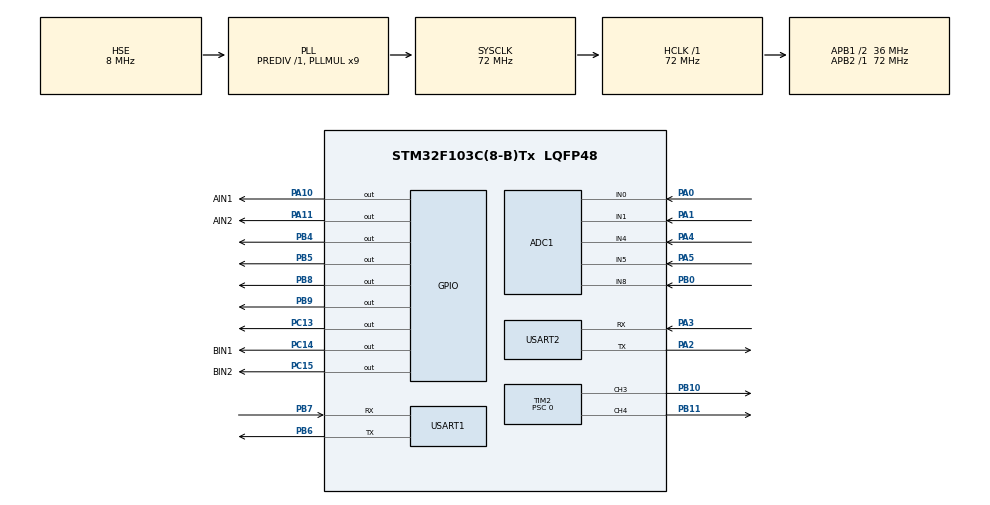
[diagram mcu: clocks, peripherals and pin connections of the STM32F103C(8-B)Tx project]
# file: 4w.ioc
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ADC1.Channel-0\#ChannelRegularConversion=ADC_CHANNEL_0
ADC1.ContinuousConvMode=DISABLE
ADC1.DiscontinuousConvMode=DISABLE
ADC1.EnableInjectedConversion=DISABLE
ADC1.NbrOfConversion=1
ADC1.NbrOfConversionFlag=1
ADC1.Rank-0\#ChannelRegularConversion=1
ADC1.SamplingTime-0\#ChannelRegularConversion=ADC_SAMPLETIME_239CYCLES_5
ADC1.master=1
Mcu.Family=STM32F1
Mcu.Name=STM32F103C(8-B)Tx
Mcu.Package=LQFP48
NVIC.PriorityGroup=NVIC_PRIORITYGROUP_4
NVIC.TIM4_IRQn=true\:0\:0\:false\:false\:true\:true\:true\:true
PA0-WKUP.Signal=ADCx_IN0
PA1.Signal=ADCx_IN1
PA10.GPIO_Label=AIN1
PA10.Signal=GPIO_Output
PA11.GPIO_Label=AIN2
PA11.Signal=GPIO_Output
PA13.Mode=Serial_Wire
PA13.Signal=SYS_JTMS-SWDIO
PA14.Mode=Serial_Wire
PA14.Signal=SYS_JTCK-SWCLK
PA2.Mode=Asynchronous
PA2.Signal=USART2_TX
PA3.Mode=Asynchronous
PA3.Signal=USART2_RX
PA4.Signal=ADCx_IN4
PA5.Signal=ADCx_IN5
PB0.Signal=ADCx_IN8
PB10.Signal=S_TIM2_CH3
PB11.Signal=S_TIM2_CH4
PB4.GPIO_ModeDefaultOutputPP=GPIO_MODE_OUTPUT_OD
PB4.GPIO_PuPd=GPIO_PULLUP
PB4.GPIO_Speed=GPIO_SPEED_FREQ_MEDIUM
PB4.PinState=GPIO_PIN_SET
PB4.Signal=GPIO_Output
PB5.GPIO_ModeDefaultOutputPP=GPIO_MODE_OUTPUT_OD
PB5.GPIO_PuPd=GPIO_PULLUP
PB5.GPIO_Speed=GPIO_SPEED_FREQ_MEDIUM
PB5.PinState=GPIO_PIN_SET
PB5.Signal=GPIO_Output
PB6.Mode=Asynchronous
PB6.Signal=USART1_TX
PB7.Mode=Asynchronous
PB7.Signal=USART1_RX
PB8.GPIO_ModeDefaultOutputPP=GPIO_MODE_OUTPUT_OD
PB8.GPIO_PuPd=GPIO_PULLUP
PB8.GPIO_Speed=GPIO_SPEED_FREQ_MEDIUM
PB8.PinState=GPIO_PIN_SET
PB8.Signal=GPIO_Output
PB9.GPIO_ModeDefaultOutputPP=GPIO_MODE_OUTPUT_OD
PB9.GPIO_PuPd=GPIO_PULLUP
PB9.GPIO_Speed=GPIO_SPEED_FREQ_MEDIUM
PB9.PinState=GPIO_PIN_SET
PB9.Signal=GPIO_Output
PC13-TAMPER-RTC.Signal=GPIO_Output
PC14-OSC32_IN.GPIO_Label=BIN1
PC14-OSC32_IN.Signal=GPIO_Output
PC15-OSC32_OUT.GPIO_Label=BIN2
PC15-OSC32_OUT.Signal=GPIO_Output
PD0-OSC_IN.Mode=HSE-External-Oscillator
PD0-OSC_IN.Signal=RCC_OSC_IN
PD1-OSC_OUT.Mode=HSE-External-Oscillator
PD1-OSC_OUT.Signal=RCC_OSC_OUT
ProjectManager.HeapSize=0x200
ProjectManager.StackSize=0x400
ProjectManager.TargetToolchain=STM32CubeIDE
RCC.ADCPresc=RCC_ADCPCLK2_DIV6
RCC.AHBFreq_Value=72000000
RCC.APB1CLKDivider=RCC_HCLK_DIV2
RCC.APB1Freq_Value=36000000
RCC.APB1TimFreq_Value=72000000
RCC.APB2Freq_Value=72000000
RCC.APB2TimFreq_Value=72000000
RCC.HCLKFreq_Value=72000000
RCC.PLLMUL=RCC_PLL_MUL9
RCC.PLLSourceVirtual=RCC_PLLSOURCE_HSE
RCC.SYSCLKFreq_VALUE=72000000
RCC.SYSCLKSource=RCC_SYSCLKSOURCE_PLLCLK
RCC.USBFreq_Value=72000000
SH.ADCx_IN0.0=ADC1_IN0,IN0
SH.ADCx_IN1.0=ADC1_IN1,IN1
SH.ADCx_IN4.0=ADC1_IN4,IN4
SH.ADCx_IN5.0=ADC1_IN5,IN5
SH.ADCx_IN8.0=ADC1_IN8,IN8
SH.S_TIM2_CH3.0=TIM2_CH3,PWM Generation3 CH3
SH.S_TIM2_CH4.0=TIM2_CH4,PWM Generation4 CH4
TIM2.AutoReloadPreload=TIM_AUTORELOAD_PRELOAD_ENABLE
TIM2.Channel-PWM\ Generation3\ CH3=TIM_CHANNEL_3
TIM2.Channel-PWM\ Generation4\ CH4=TIM_CHANNEL_4
TIM2.Period=7199
TIM2.Prescaler=0
TIM2.Pulse-PWM\ Generation3\ CH3=50
TIM2.Pulse-PWM\ Generation4\ CH4=50
TIM4.AutoReloadPreload=TIM_AUTORELOAD_PRELOAD_ENABLE
TIM4.Period=9
TIM4.Prescaler=7199
USART1.VirtualMode=VM_ASYNC
USART2.VirtualMode=VM_ASYNC
VP_TIM2_VS_ClockSourceINT.Mode=Internal
VP_TIM4_VS_ClockSourceINT.Mode=Internal
board=custom

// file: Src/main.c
/* USER CODE BEGIN Header */
/**
  ******************************************************************************
  * @file           : main.c
  * @brief          : Main program body
  ******************************************************************************
  * @attention
  *
  * Copyright (c) 2023 STMicroelectronics.
  * All rights reserved.
  *
  * This software is licensed under terms that can be found in the LICENSE file
  * in the root directory of this software component.
  * If no LICENSE file comes with this software, it is provided AS-IS.
  *
  ******************************************************************************
  */
/* USER CODE END Header */
#include "main.h"
#include "adc.h"
#include "tim.h"
#include "usart.h"
#include "gpio.h"

/* USER CODE BEGIN Includes */

#include "printf.h"
#include "mpu6050.h"
#include "PID.h"
#include "motor.h"
#include "oled.h"
#include "stdio.h"
#include "ADC_XJ.h"
#include "string.h"
#include "myadc.h"

/* USER CODE END Includes */

/* USER CODE BEGIN PV */

extern PID_struct pid_motor_L;
extern PID_struct pid_motor_R;
extern uint8_t  _10ms_flag ,_50ms_flag;
extern int ADC_Value[5];
extern float target_angle;
extern float Direction[21];
extern float Motor_speed_L;
extern float Motor_speed_R;
extern uint8_t  zhixing , xuanzhuan ,xuanzhuan_start;

extern int turn_cnt;

uint8_t sbuf[20] = {0};

/* USER CODE END PV */

void SystemClock_Config(void);

int main(void)
{

  /* MCU Configuration--------------------------------------------------------*/

  /* Reset of all peripherals, Initializes the Flash interface and the Systick. */
  HAL_Init();

  /* Configure the system clock */
  SystemClock_Config();

  /* Initialize all configured peripherals */
  MX_GPIO_Init();
  MX_ADC1_Init();
  MX_TIM2_Init();
  MX_TIM4_Init();
  MX_USART1_UART_Init();
  MX_USART2_UART_Init();
  /* USER CODE BEGIN 2 */

  HAL_TIM_Base_Start_IT(&htim4);
  HAL_TIM_PWM_Start(&htim2,TIM_CHANNEL_3);
  HAL_TIM_PWM_Start(&htim2,TIM_CHANNEL_4);

  MPU_Init();
  while(mpu_dmp_init());

  OLED_Init();
  OLED_DisplayTurn(1);
  OLED_Clear();

  for(int i; i < 100; i++) {
      mpu_dmp_get_data(&pitch, &roll, &yaw);
      HAL_Delay(5);
  }
  PID_Init(&pid_motor_L);
  PID_Init(&pid_motor_R);

  target_angle = 0.0;

  zhixing = 1;

  PID_Set(&pid_motor_R,target_angle,300,0.001,0.5);
  PID_Set(&pid_motor_L,target_angle,-250,-0.001,-0.5);

  /* USER CODE END 2 */

  /* Infinite loop */
  while (1)
  {

    /* USER CODE BEGIN 3 */

      if(zhixing == 1)
      {
          ADC_Value_t();
          if(ADC_Value[0] == 1 || ADC_Value[4] == 1)
          {
              turn_cnt++;//弯道计数++
              turn_cnt %=20;
              xuanzhuan = 1;
              xuanzhuan_start = 1;
              zhixing   = 0;

          }
      }

    memset(sbuf,0,20);
    sprintf((char*)sbuf,"Now turn: %.1f",Direction[turn_cnt]);
    OLED_ShowString(0,0,sbuf,12);
    memset(sbuf,0,20);
    sprintf((char*)sbuf,"yaw: %.2f",yaw);
    OLED_ShowString(0,1,(uint8_t*)sbuf,12);
    memset(sbuf,0,20);
    sprintf((char*)sbuf,"pid_L:%d",(int)Motor_speed_L);
    OLED_ShowString(0,2,(uint8_t*)sbuf,12);
    memset(sbuf,0,20);
    sprintf((char*)sbuf,"pid_R:%d",(int)Motor_speed_R);
    OLED_ShowString(0,3,(uint8_t*)sbuf,12);
    memset(sbuf,0,20);
    sprintf((char*)sbuf,"%d  %d  %d  %d  %d",ADC_Value[0],ADC_Value[1],ADC_Value[2],ADC_Value[3],ADC_Value[4]);
    OLED_ShowString(0,5,(uint8_t*)sbuf,12);
    memset(sbuf,0,20);
    sprintf((char*)sbuf,"trun_cnt: %d    ",turn_cnt);
    OLED_ShowString(0,6,(uint8_t*)sbuf,12);

    if(zhixing == 1)//直线行驶
    {

        if(ADC_Value[1] == 1 && ADC_Value[3] == 0)
        {
            Motor(forward,default_dpeed+1000,default_dpeed);
        }
        else if(ADC_Value[1] == 0 && ADC_Value[3] == 1)
        {
            Motor(forward,default_dpeed,default_dpeed+1000);
        }
        else
            Motor(forward,default_dpeed,default_dpeed);
    }

    else if(xuanzhuan == 1)//路口旋转
    {
        if(xuanzhuan_start == 1)
        {
            HAL_Delay(600);//冲出赛道一丢丢
            Motor(stop,0,0);//停车
            while (mpu_dmp_init());//等待陀螺仪初始化
            yaw = 0;//偏航角清零

            pid_motor_L.err_sum = 0;
            pid_motor_R.err_sum = 0;

            target_angle = Direction[turn_cnt];
            pid_motor_R.target = Direction[turn_cnt];
            pid_motor_L.target = Direction[turn_cnt];

            xuanzhuan_start = 0;
            printf("角度已重置\r\n");
        }

        if(yaw>80||yaw<-80||turn_cnt == 9)
        {
            xuanzhuan = 0;
            zhixing = 1;
        }
    }

    if(_10ms_flag)//陀螺仪调整90°
    {
        _10ms_flag = 0;
        if(yaw < (target_angle - 10.0) || yaw > (target_angle + 10.0))
        {
          if(Motor_speed_R > 0)
          {
            MOTOR_R_F((int)Motor_speed_R);
          }
          else
          {
            MOTOR_R_B((int)(-Motor_speed_R));
          }
          if(Motor_speed_L > 0)
          {
            MOTOR_L_F((int)Motor_speed_L);
          }
          else
          {
            MOTOR_L_B((int)(-Motor_speed_L));
          }

        }
    }
  }
  /* USER CODE END 3 */
}

void SystemClock_Config(void)
{
  RCC_OscInitTypeDef RCC_OscInitStruct = {0};
  RCC_ClkInitTypeDef RCC_ClkInitStruct = {0};
  RCC_PeriphCLKInitTypeDef PeriphClkInit = {0};

  /** Initializes the RCC Oscillators according to the specified parameters
  * in the RCC_OscInitTypeDef structure.
  */
  RCC_OscInitStruct.OscillatorType = RCC_OSCILLATORTYPE_HSE;
  RCC_OscInitStruct.HSEState = RCC_HSE_ON;
  RCC_OscInitStruct.HSEPredivValue = RCC_HSE_PREDIV_DIV1;
  RCC_OscInitStruct.HSIState = RCC_HSI_ON;
  RCC_OscInitStruct.PLL.PLLState = RCC_PLL_ON;
  RCC_OscInitStruct.PLL.PLLSource = RCC_PLLSOURCE_HSE;
  RCC_OscInitStruct.PLL.PLLMUL = RCC_PLL_MUL9;
  if (HAL_RCC_OscConfig(&RCC_OscInitStruct) != HAL_OK)
  {
    Error_Handler();
  }

  /** Initializes the CPU, AHB and APB buses clocks
  */
  RCC_ClkInitStruct.ClockType = RCC_CLOCKTYPE_HCLK|RCC_CLOCKTYPE_SYSCLK
                              |RCC_CLOCKTYPE_PCLK1|RCC_CLOCKTYPE_PCLK2;
  RCC_ClkInitStruct.SYSCLKSource = RCC_SYSCLKSOURCE_PLLCLK;
  RCC_ClkInitStruct.AHBCLKDivider = RCC_SYSCLK_DIV1;
  RCC_ClkInitStruct.APB1CLKDivider = RCC_HCLK_DIV2;
  RCC_ClkInitStruct.APB2CLKDivider = RCC_HCLK_DIV1;

  if (HAL_RCC_ClockConfig(&RCC_ClkInitStruct, FLASH_LATENCY_2) != HAL_OK)
  {
    Error_Handler();
  }
  PeriphClkInit.PeriphClockSelection = RCC_PERIPHCLK_ADC;
  PeriphClkInit.AdcClockSelection = RCC_ADCPCLK2_DIV6;
  if (HAL_RCCEx_PeriphCLKConfig(&PeriphClkInit) != HAL_OK)
  {
    Error_Handler();
  }
}

void Error_Handler(void)
{
  __disable_irq();
  while (1)
  {
  }
}
